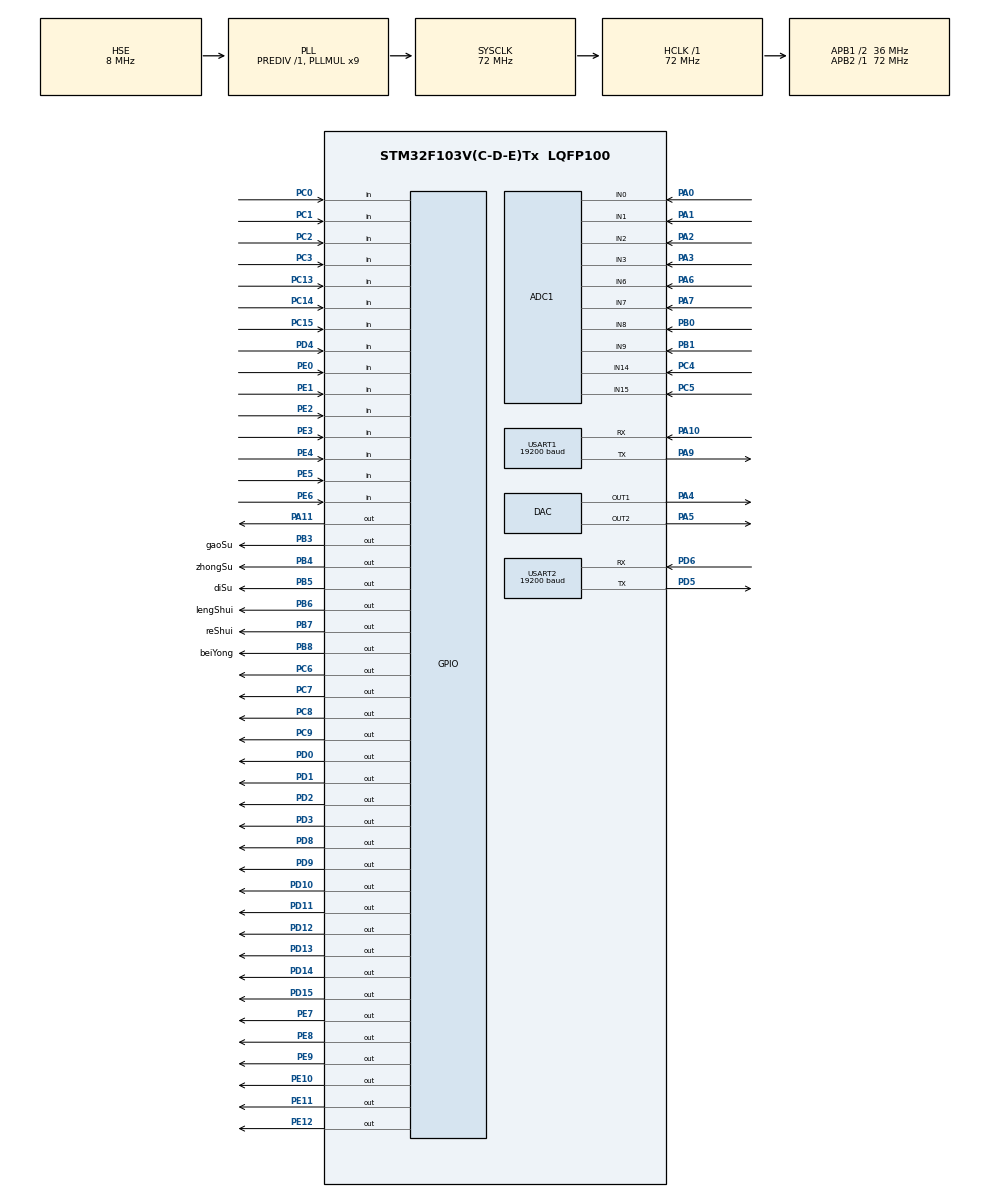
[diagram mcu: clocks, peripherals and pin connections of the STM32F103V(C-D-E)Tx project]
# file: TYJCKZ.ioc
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ADC1.Channel-0\#ChannelRegularConversion=ADC_CHANNEL_0
ADC1.Channel-1\#ChannelRegularConversion=ADC_CHANNEL_1
ADC1.Channel-10\#ChannelRegularConversion=ADC_CHANNEL_15
ADC1.Channel-2\#ChannelRegularConversion=ADC_CHANNEL_2
ADC1.Channel-3\#ChannelRegularConversion=ADC_CHANNEL_3
ADC1.Channel-4\#ChannelRegularConversion=ADC_CHANNEL_6
ADC1.Channel-5\#ChannelRegularConversion=ADC_CHANNEL_7
ADC1.Channel-7\#ChannelRegularConversion=ADC_CHANNEL_8
ADC1.Channel-8\#ChannelRegularConversion=ADC_CHANNEL_9
ADC1.Channel-9\#ChannelRegularConversion=ADC_CHANNEL_14
ADC1.ContinuousConvMode=ENABLE
ADC1.NbrOfConversion=10
ADC1.NbrOfConversionFlag=1
ADC1.Rank-0\#ChannelRegularConversion=1
ADC1.Rank-1\#ChannelRegularConversion=2
ADC1.Rank-10\#ChannelRegularConversion=10
ADC1.Rank-2\#ChannelRegularConversion=3
ADC1.Rank-3\#ChannelRegularConversion=4
ADC1.Rank-4\#ChannelRegularConversion=5
ADC1.Rank-5\#ChannelRegularConversion=6
ADC1.Rank-7\#ChannelRegularConversion=7
ADC1.Rank-8\#ChannelRegularConversion=8
ADC1.Rank-9\#ChannelRegularConversion=9
ADC1.SamplingTime-0\#ChannelRegularConversion=ADC_SAMPLETIME_55CYCLES_5
ADC1.SamplingTime-1\#ChannelRegularConversion=ADC_SAMPLETIME_55CYCLES_5
ADC1.SamplingTime-10\#ChannelRegularConversion=ADC_SAMPLETIME_55CYCLES_5
ADC1.SamplingTime-2\#ChannelRegularConversion=ADC_SAMPLETIME_55CYCLES_5
ADC1.SamplingTime-3\#ChannelRegularConversion=ADC_SAMPLETIME_55CYCLES_5
ADC1.SamplingTime-4\#ChannelRegularConversion=ADC_SAMPLETIME_55CYCLES_5
ADC1.SamplingTime-5\#ChannelRegularConversion=ADC_SAMPLETIME_55CYCLES_5
ADC1.SamplingTime-7\#ChannelRegularConversion=ADC_SAMPLETIME_55CYCLES_5
ADC1.SamplingTime-8\#ChannelRegularConversion=ADC_SAMPLETIME_55CYCLES_5
ADC1.SamplingTime-9\#ChannelRegularConversion=ADC_SAMPLETIME_55CYCLES_5
ADC1.master=1
DAC.DAC_OutputBuffer=DAC_OUTPUTBUFFER_DISABLE
DAC.DAC_OutputBuffer2=DAC_OUTPUTBUFFER_DISABLE
Dma.ADC1.4.Direction=DMA_PERIPH_TO_MEMORY
Dma.ADC1.4.Instance=DMA1_Channel1
Dma.ADC1.4.MemDataAlignment=DMA_MDATAALIGN_HALFWORD
Dma.ADC1.4.MemInc=DMA_MINC_ENABLE
Dma.ADC1.4.Mode=DMA_CIRCULAR
Dma.ADC1.4.PeriphDataAlignment=DMA_PDATAALIGN_HALFWORD
Dma.ADC1.4.PeriphInc=DMA_PINC_DISABLE
Dma.ADC1.4.Priority=DMA_PRIORITY_LOW
Dma.Request0=USART1_RX
Dma.Request1=USART1_TX
Dma.Request2=USART2_RX
Dma.Request3=USART2_TX
Dma.Request4=ADC1
Dma.USART1_RX.0.Direction=DMA_PERIPH_TO_MEMORY
Dma.USART1_RX.0.Instance=DMA1_Channel5
Dma.USART1_RX.0.MemDataAlignment=DMA_MDATAALIGN_BYTE
Dma.USART1_RX.0.MemInc=DMA_MINC_ENABLE
Dma.USART1_RX.0.Mode=DMA_NORMAL
Dma.USART1_RX.0.PeriphDataAlignment=DMA_PDATAALIGN_BYTE
Dma.USART1_RX.0.PeriphInc=DMA_PINC_DISABLE
Dma.USART1_RX.0.Priority=DMA_PRIORITY_MEDIUM
Dma.USART1_TX.1.Direction=DMA_MEMORY_TO_PERIPH
Dma.USART1_TX.1.Instance=DMA1_Channel4
Dma.USART1_TX.1.MemDataAlignment=DMA_MDATAALIGN_BYTE
Dma.USART1_TX.1.MemInc=DMA_MINC_ENABLE
Dma.USART1_TX.1.Mode=DMA_NORMAL
Dma.USART1_TX.1.PeriphDataAlignment=DMA_PDATAALIGN_BYTE
Dma.USART1_TX.1.PeriphInc=DMA_PINC_DISABLE
Dma.USART1_TX.1.Priority=DMA_PRIORITY_MEDIUM
Dma.USART2_RX.2.Direction=DMA_PERIPH_TO_MEMORY
Dma.USART2_RX.2.Instance=DMA1_Channel6
Dma.USART2_RX.2.MemDataAlignment=DMA_MDATAALIGN_BYTE
Dma.USART2_RX.2.MemInc=DMA_MINC_ENABLE
Dma.USART2_RX.2.Mode=DMA_NORMAL
Dma.USART2_RX.2.PeriphDataAlignment=DMA_PDATAALIGN_BYTE
Dma.USART2_RX.2.PeriphInc=DMA_PINC_DISABLE
Dma.USART2_RX.2.Priority=DMA_PRIORITY_MEDIUM
Dma.USART2_TX.3.Direction=DMA_MEMORY_TO_PERIPH
Dma.USART2_TX.3.Instance=DMA1_Channel7
Dma.USART2_TX.3.MemDataAlignment=DMA_MDATAALIGN_BYTE
Dma.USART2_TX.3.MemInc=DMA_MINC_ENABLE
Dma.USART2_TX.3.Mode=DMA_NORMAL
Dma.USART2_TX.3.PeriphDataAlignment=DMA_PDATAALIGN_BYTE
Dma.USART2_TX.3.PeriphInc=DMA_PINC_DISABLE
Dma.USART2_TX.3.Priority=DMA_PRIORITY_MEDIUM
FREERTOS.HEAP_NUMBER=5
FREERTOS.Tasks01=TaskModbusRec,0,128,FuncModbusRec,Default,NULL,Dynamic,NULL,NULL;TaskDataProc,0,128,FuncDataProc,Default,NULL,Dynamic,NULL,NULL;TaskModbusSend,0,128,FuncModbusSend,Default,NULL,Dynamic,NULL,NULL;TaskTelDial,0,128,FuncTelDial,Default,NULL,Dynamic,NULL,NULL;TaskGasRxTx,0,128,FuncGasRxTx,Default,NULL,Dynamic,NULL,NULL
FREERTOS.configTOTAL_HEAP_SIZE=4096
Mcu.Family=STM32F1
Mcu.Name=STM32F103V(C-D-E)Tx
Mcu.Package=LQFP100
NVIC.DMA1_Channel1_IRQn=true\:5\:0\:false\:false\:true\:true\:true\:true
NVIC.DMA1_Channel4_IRQn=true\:5\:0\:false\:false\:true\:true\:true\:true
NVIC.DMA1_Channel5_IRQn=true\:5\:0\:false\:false\:true\:true\:true\:true
NVIC.DMA1_Channel6_IRQn=true\:5\:0\:false\:false\:true\:true\:true\:true
NVIC.DMA1_Channel7_IRQn=true\:5\:0\:false\:false\:true\:true\:true\:true
NVIC.PriorityGroup=NVIC_PRIORITYGROUP_4
NVIC.TIM4_IRQn=true\:0\:0\:false\:false\:true\:false\:true\:true
NVIC.TimeBase=TIM4_IRQn
NVIC.TimeBaseIP=TIM4
NVIC.USART1_IRQn=true\:5\:0\:false\:false\:true\:true\:true\:true
NVIC.USART2_IRQn=true\:5\:0\:false\:false\:true\:true\:true\:true
OSC_IN.Mode=HSE-External-Oscillator
OSC_IN.Signal=RCC_OSC_IN
OSC_OUT.Mode=HSE-External-Oscillator
OSC_OUT.Signal=RCC_OSC_OUT
PA0-WKUP.Signal=ADCx_IN0
PA1.Signal=ADCx_IN1
PA10.Mode=Asynchronous
PA10.Signal=USART1_RX
PA11.Signal=GPIO_Output
PA13.Mode=Serial_Wire
PA13.Signal=SYS_JTMS-SWDIO
PA14.Mode=Serial_Wire
PA14.Signal=SYS_JTCK-SWCLK
PA2.Signal=ADCx_IN2
PA3.Signal=ADCx_IN3
PA4.Signal=COMP_DAC1_group
PA5.Signal=COMP_DAC2_group
PA6.Signal=ADCx_IN6
PA7.Signal=ADCx_IN7
PA9.Mode=Asynchronous
PA9.Signal=USART1_TX
PB0.Signal=ADCx_IN8
PB1.Signal=ADCx_IN9
PB3.GPIO_Label=gaoSu
PB3.Signal=GPIO_Output
PB4.GPIO_Label=zhongSu
PB4.Signal=GPIO_Output
PB5.GPIO_Label=diSu
PB5.Signal=GPIO_Output
PB6.GPIO_Label=lengShui
PB6.Signal=GPIO_Output
PB7.GPIO_Label=reShui
PB7.Signal=GPIO_Output
PB8.GPIO_Label=beiYong
PB8.Signal=GPIO_Output
PC0.GPIO_PuPd=GPIO_PULLUP
PC0.Signal=GPIO_Input
PC1.GPIO_PuPd=GPIO_PULLUP
PC1.Signal=GPIO_Input
PC13-TAMPER-RTC.GPIO_PuPd=GPIO_PULLUP
PC13-TAMPER-RTC.Signal=GPIO_Input
PC14-OSC32_IN.GPIO_PuPd=GPIO_PULLUP
PC14-OSC32_IN.Signal=GPIO_Input
PC15-OSC32_OUT.GPIO_PuPd=GPIO_PULLUP
PC15-OSC32_OUT.Signal=GPIO_Input
PC2.GPIO_PuPd=GPIO_PULLUP
PC2.Signal=GPIO_Input
PC3.GPIO_PuPd=GPIO_PULLUP
PC3.Signal=GPIO_Input
PC4.Signal=ADCx_IN14
PC5.Signal=ADCx_IN15
PC6.Signal=GPIO_Output
PC7.Signal=GPIO_Output
PC8.Signal=GPIO_Output
PC9.Signal=GPIO_Output
PD0.Signal=GPIO_Output
PD1.Signal=GPIO_Output
PD10.Signal=GPIO_Output
PD11.Signal=GPIO_Output
PD12.Signal=GPIO_Output
PD13.Signal=GPIO_Output
PD14.Signal=GPIO_Output
PD15.Signal=GPIO_Output
PD2.Signal=GPIO_Output
PD3.Signal=GPIO_Output
PD4.GPIO_PuPd=GPIO_PULLUP
PD4.Signal=GPIO_Input
PD5.Mode=Asynchronous
PD5.Signal=USART2_TX
PD6.Mode=Asynchronous
PD6.Signal=USART2_RX
PD8.Signal=GPIO_Output
PD9.Signal=GPIO_Output
PE0.GPIO_PuPd=GPIO_PULLUP
PE0.Signal=GPIO_Input
PE1.GPIO_PuPd=GPIO_PULLUP
PE1.Signal=GPIO_Input
PE10.Signal=GPIO_Output
PE11.Signal=GPIO_Output
PE12.Signal=GPIO_Output
PE2.GPIO_PuPd=GPIO_PULLUP
PE2.Signal=GPIO_Input
PE3.GPIO_PuPd=GPIO_PULLUP
PE3.Signal=GPIO_Input
PE4.GPIO_PuPd=GPIO_PULLUP
PE4.Signal=GPIO_Input
PE5.GPIO_PuPd=GPIO_PULLUP
PE5.Signal=GPIO_Input
PE6.GPIO_PuPd=GPIO_PULLUP
PE6.Signal=GPIO_Input
PE7.Signal=GPIO_Output
PE8.Signal=GPIO_Output
PE9.Signal=GPIO_Output
ProjectManager.HeapSize=0x200
ProjectManager.StackSize=0x400
ProjectManager.TargetToolchain=TrueSTUDIO
RCC.ADCPresc=RCC_ADCPCLK2_DIV6
RCC.AHBFreq_Value=72000000
RCC.APB1CLKDivider=RCC_HCLK_DIV2
RCC.APB1Freq_Value=36000000
RCC.APB1TimFreq_Value=72000000
RCC.APB2Freq_Value=72000000
RCC.APB2TimFreq_Value=72000000
RCC.HCLKFreq_Value=72000000
RCC.PLLMUL=RCC_PLL_MUL9
RCC.PLLSourceVirtual=RCC_PLLSOURCE_HSE
RCC.SYSCLKFreq_VALUE=72000000
RCC.SYSCLKSource=RCC_SYSCLKSOURCE_PLLCLK
RCC.USBFreq_Value=72000000
SH.ADCx_IN0.0=ADC1_IN0,IN0
SH.ADCx_IN1.0=ADC1_IN1,IN1
SH.ADCx_IN14.0=ADC1_IN14,IN14
SH.ADCx_IN15.0=ADC1_IN15,IN15
SH.ADCx_IN2.0=ADC1_IN2,IN2
SH.ADCx_IN3.0=ADC1_IN3,IN3
SH.ADCx_IN6.0=ADC1_IN6,IN6
SH.ADCx_IN7.0=ADC1_IN7,IN7
SH.ADCx_IN8.0=ADC1_IN8,IN8
SH.ADCx_IN9.0=ADC1_IN9,IN9
SH.COMP_DAC1_group.0=DAC_OUT1,DAC_OUT1
SH.COMP_DAC2_group.0=DAC_OUT2,DAC_OUT2
USART1.BaudRate=19200
USART1.VirtualMode=VM_ASYNC
USART2.BaudRate=19200
USART2.VirtualMode=VM_ASYNC
VP_FREERTOS_VS_CMSIS_V1.Mode=CMSIS_V1
VP_IWDG_VS_IWDG.Mode=IWDG_Activate
VP_SYS_VS_tim4.Mode=TIM4
board=TYJCKZ

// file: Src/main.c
/**
  ******************************************************************************
  * @file           : main.c
  * @brief          : Main program body
  ******************************************************************************
  * This notice applies to any and all portions of this file
  * that are not between comment pairs USER CODE BEGIN and
  * USER CODE END. Other portions of this file, whether
  * inserted by the user or by software development tools
  * are owned by their respective copyright owners.
  *
  * Copyright (c) 2018 STMicroelectronics International N.V.
  * All rights reserved.
  *
  * Redistribution and use in source and binary forms, with or without
  * modification, are permitted, provided that the following conditions are met:
  *
  * 1. Redistribution of source code must retain the above copyright notice,
  *    this list of conditions and the following disclaimer.
  * 2. Redistributions in binary form must reproduce the above copyright notice,
  *    this list of conditions and the following disclaimer in the documentation
  *    and/or other materials provided with the distribution.
  * 3. Neither the name of STMicroelectronics nor the names of other
  *    contributors to this software may be used to endorse or promote products
  *    derived from this software without specific written permission.
  * 4. This software, including modifications and/or derivative works of this
  *    software, must execute solely and exclusively on microcontroller or
  *    microprocessor devices manufactured by or for STMicroelectronics.
  * 5. Redistribution and use of this software other than as permitted under
  *    this license is void and will automatically terminate your rights under
  *    this license.
  *
  * THIS SOFTWARE IS PROVIDED BY STMICROELECTRONICS AND CONTRIBUTORS "AS IS"
  * AND ANY EXPRESS, IMPLIED OR STATUTORY WARRANTIES, INCLUDING, BUT NOT
  * LIMITED TO, THE IMPLIED WARRANTIES OF MERCHANTABILITY, FITNESS FOR A
  * PARTICULAR PURPOSE AND NON-INFRINGEMENT OF THIRD PARTY INTELLECTUAL PROPERTY
  * RIGHTS ARE DISCLAIMED TO THE FULLEST EXTENT PERMITTED BY LAW. IN NO EVENT
  * SHALL STMICROELECTRONICS OR CONTRIBUTORS BE LIABLE FOR ANY DIRECT, INDIRECT,
  * INCIDENTAL, SPECIAL, EXEMPLARY, OR CONSEQUENTIAL DAMAGES (INCLUDING, BUT NOT
  * LIMITED TO, PROCUREMENT OF SUBSTITUTE GOODS OR SERVICES; LOSS OF USE, DATA,
  * OR PROFITS; OR BUSINESS INTERRUPTION) HOWEVER CAUSED AND ON ANY THEORY OF
  * LIABILITY, WHETHER IN CONTRACT, STRICT LIABILITY, OR TORT (INCLUDING
  * NEGLIGENCE OR OTHERWISE) ARISING IN ANY WAY OUT OF THE USE OF THIS SOFTWARE,
  * EVEN IF ADVISED OF THE POSSIBILITY OF SUCH DAMAGE.
  *
  ******************************************************************************
  */
#include "main.h"
#include "stm32f1xx_hal.h"
#include "cmsis_os.h"
#include "adc.h"
#include "dac.h"
#include "dma.h"
#include "iwdg.h"
#include "usart.h"
#include "gpio.h"

/* USER CODE BEGIN PV */
/* Private variables ---------------------------------------------------------*/

/* USER CODE END PV */

void SystemClock_Config(void);
void MX_FREERTOS_Init(void);

/* USER CODE BEGIN PFP */
/* Private function prototypes -----------------------------------------------*/

/* USER CODE END PFP */

int main(void)
{

  /* MCU Configuration----------------------------------------------------------*/

  /* Reset of all peripherals, Initializes the Flash interface and the Systick. */
  HAL_Init();

  /* USER CODE BEGIN Init */

  uint16_t sendMasterCount;

  /* USER CODE END Init */

  /* Configure the system clock */
  SystemClock_Config();

  /* Initialize all configured peripherals */
  MX_GPIO_Init();
  MX_DMA_Init();
  MX_ADC1_Init();
  MX_USART1_UART_Init();
  MX_USART2_UART_Init();
  MX_IWDG_Init();
  MX_DAC_Init();
  /* USER CODE BEGIN 2 */

  __HAL_UART_ENABLE_IT(&huart1, UART_IT_IDLE);    //使能空闲中断
  __HAL_UART_ENABLE_IT(&huart2, UART_IT_IDLE);

  HAL_ADCEx_Calibration_Start(&hadc1);
  HAL_ADC_Start_DMA(&hadc1, (uint32_t *)ADC_ConvertedValue, 10);
  HAL_DAC_Start(&hdac, DAC_CHANNEL_1);
  HAL_DAC_Start(&hdac, DAC_CHANNEL_2);
  /* USER CODE END 2 */

  /* Call init function for freertos objects (in freertos.c) */
  MX_FREERTOS_Init();

  /* Start scheduler */
  osKernelStart();

  /* We should never get here as control is now taken by the scheduler */

  /* Infinite loop */
  while (1)
  {

  }

}

void SystemClock_Config(void)
{

  RCC_OscInitTypeDef RCC_OscInitStruct;
  RCC_ClkInitTypeDef RCC_ClkInitStruct;
  RCC_PeriphCLKInitTypeDef PeriphClkInit;

    /**Initializes the CPU, AHB and APB busses clocks
    */
  RCC_OscInitStruct.OscillatorType = RCC_OSCILLATORTYPE_LSI|RCC_OSCILLATORTYPE_HSE;
  RCC_OscInitStruct.HSEState = RCC_HSE_ON;
  RCC_OscInitStruct.HSEPredivValue = RCC_HSE_PREDIV_DIV1;
  RCC_OscInitStruct.HSIState = RCC_HSI_ON;
  RCC_OscInitStruct.LSIState = RCC_LSI_ON;
  RCC_OscInitStruct.PLL.PLLState = RCC_PLL_ON;
  RCC_OscInitStruct.PLL.PLLSource = RCC_PLLSOURCE_HSE;
  RCC_OscInitStruct.PLL.PLLMUL = RCC_PLL_MUL9;
  if (HAL_RCC_OscConfig(&RCC_OscInitStruct) != HAL_OK)
  {
    _Error_Handler(__FILE__, __LINE__);
  }

    /**Initializes the CPU, AHB and APB busses clocks
    */
  RCC_ClkInitStruct.ClockType = RCC_CLOCKTYPE_HCLK|RCC_CLOCKTYPE_SYSCLK
                              |RCC_CLOCKTYPE_PCLK1|RCC_CLOCKTYPE_PCLK2;
  RCC_ClkInitStruct.SYSCLKSource = RCC_SYSCLKSOURCE_PLLCLK;
  RCC_ClkInitStruct.AHBCLKDivider = RCC_SYSCLK_DIV1;
  RCC_ClkInitStruct.APB1CLKDivider = RCC_HCLK_DIV2;
  RCC_ClkInitStruct.APB2CLKDivider = RCC_HCLK_DIV1;

  if (HAL_RCC_ClockConfig(&RCC_ClkInitStruct, FLASH_LATENCY_2) != HAL_OK)
  {
    _Error_Handler(__FILE__, __LINE__);
  }

  PeriphClkInit.PeriphClockSelection = RCC_PERIPHCLK_ADC;
  PeriphClkInit.AdcClockSelection = RCC_ADCPCLK2_DIV6;
  if (HAL_RCCEx_PeriphCLKConfig(&PeriphClkInit) != HAL_OK)
  {
    _Error_Handler(__FILE__, __LINE__);
  }

    /**Configure the Systick interrupt time
    */
  HAL_SYSTICK_Config(HAL_RCC_GetHCLKFreq()/1000);

    /**Configure the Systick
    */
  HAL_SYSTICK_CLKSourceConfig(SYSTICK_CLKSOURCE_HCLK);

  /* SysTick_IRQn interrupt configuration */
  HAL_NVIC_SetPriority(SysTick_IRQn, 15, 0);
}

void HAL_TIM_PeriodElapsedCallback(TIM_HandleTypeDef *htim)
{
  if (htim->Instance == TIM4) {
    HAL_IncTick();
  }
}

void _Error_Handler(char *file, int line)
{
  while(1)
  {
  }
}

/************************ (C) COPYRIGHT STMicroelectronics *****END OF FILE****/

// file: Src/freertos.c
/**
  ******************************************************************************
  * File Name          : freertos.c
  * Description        : Code for freertos applications
  ******************************************************************************
  * This notice applies to any and all portions of this file
  * that are not between comment pairs USER CODE BEGIN and
  * USER CODE END. Other portions of this file, whether
  * inserted by the user or by software development tools
  * are owned by their respective copyright owners.
  *
  * Copyright (c) 2018 STMicroelectronics International N.V.
  * All rights reserved.
  *
  * Redistribution and use in source and binary forms, with or without
  * modification, are permitted, provided that the following conditions are met:
  *
  * 1. Redistribution of source code must retain the above copyright notice,
  *    this list of conditions and the following disclaimer.
  * 2. Redistributions in binary form must reproduce the above copyright notice,
  *    this list of conditions and the following disclaimer in the documentation
  *    and/or other materials provided with the distribution.
  * 3. Neither the name of STMicroelectronics nor the names of other
  *    contributors to this software may be used to endorse or promote products
  *    derived from this software without specific written permission.
  * 4. This software, including modifications and/or derivative works of this
  *    software, must execute solely and exclusively on microcontroller or
  *    microprocessor devices manufactured by or for STMicroelectronics.
  * 5. Redistribution and use of this software other than as permitted under
  *    this license is void and will automatically terminate your rights under
  *    this license.
  *
  * THIS SOFTWARE IS PROVIDED BY STMICROELECTRONICS AND CONTRIBUTORS "AS IS"
  * AND ANY EXPRESS, IMPLIED OR STATUTORY WARRANTIES, INCLUDING, BUT NOT
  * LIMITED TO, THE IMPLIED WARRANTIES OF MERCHANTABILITY, FITNESS FOR A
  * PARTICULAR PURPOSE AND NON-INFRINGEMENT OF THIRD PARTY INTELLECTUAL PROPERTY
  * RIGHTS ARE DISCLAIMED TO THE FULLEST EXTENT PERMITTED BY LAW. IN NO EVENT
  * SHALL STMICROELECTRONICS OR CONTRIBUTORS BE LIABLE FOR ANY DIRECT, INDIRECT,
  * INCIDENTAL, SPECIAL, EXEMPLARY, OR CONSEQUENTIAL DAMAGES (INCLUDING, BUT NOT
  * LIMITED TO, PROCUREMENT OF SUBSTITUTE GOODS OR SERVICES; LOSS OF USE, DATA,
  * OR PROFITS; OR BUSINESS INTERRUPTION) HOWEVER CAUSED AND ON ANY THEORY OF
  * LIABILITY, WHETHER IN CONTRACT, STRICT LIABILITY, OR TORT (INCLUDING
  * NEGLIGENCE OR OTHERWISE) ARISING IN ANY WAY OUT OF THE USE OF THIS SOFTWARE,
  * EVEN IF ADVISED OF THE POSSIBILITY OF SUCH DAMAGE.
  *
  ******************************************************************************
  */

#include "FreeRTOS.h"
#include "task.h"
#include "cmsis_os.h"

/* USER CODE BEGIN Includes */
#include "stm32f1xx_hal.h"
#include "modbusToAndroid.h"
#include "dataProcessing.h"
#include "telDial.h"
#include "gasAlermRxTx.h"
#include "iwdg.h"
/* USER CODE END Includes */

osThreadId TaskModbusRecHandle;
osThreadId TaskDataProcHandle;
osThreadId TaskModbusSendHandle;
osThreadId TaskTelDialHandle;
osThreadId TaskGasRxTxHandle;

void FuncModbusRec(void const * argument);
void FuncDataProc(void const * argument);
void FuncModbusSend(void const * argument);
void FuncTelDial(void const * argument);
void FuncGasRxTx(void const * argument);

void MX_FREERTOS_Init(void); /* (MISRA C 2004 rule 8.1) */

/* Hook prototypes */

/* Init FreeRTOS */

void MX_FREERTOS_Init(void) {

  /* Create the thread(s) */
  /* definition and creation of TaskModbusRec */
  osThreadDef(TaskModbusRec, FuncModbusRec, osPriorityNormal, 0, 128);
  TaskModbusRecHandle = osThreadCreate(osThread(TaskModbusRec), NULL);

  /* definition and creation of TaskDataProc */
  osThreadDef(TaskDataProc, FuncDataProc, osPriorityNormal, 0, 128);
  TaskDataProcHandle = osThreadCreate(osThread(TaskDataProc), NULL);

  /* definition and creation of TaskModbusSend */
  osThreadDef(TaskModbusSend, FuncModbusSend, osPriorityNormal, 0, 128);
  TaskModbusSendHandle = osThreadCreate(osThread(TaskModbusSend), NULL);

  /* definition and creation of TaskTelDial */
  osThreadDef(TaskTelDial, FuncTelDial, osPriorityNormal, 0, 128);
  TaskTelDialHandle = osThreadCreate(osThread(TaskTelDial), NULL);

  /* definition and creation of TaskGasRxTx */
  osThreadDef(TaskGasRxTx, FuncGasRxTx, osPriorityNormal, 0, 128);
  TaskGasRxTxHandle = osThreadCreate(osThread(TaskGasRxTx), NULL);

}

/* FuncModbusRec function */
void FuncModbusRec(void const * argument)
{

  /* USER CODE BEGIN FuncModbusRec */
  /* Infinite loop */
  for(;;)
  {
	  Usart1RxMonitor();
	  osDelay(1);
  }
  /* USER CODE END FuncModbusRec */
}

/* FuncDataProc function */
void FuncDataProc(void const * argument)
{
  /* USER CODE BEGIN FuncDataProc */
  /* Infinite loop */
  for(;;)
  {
	  dataProcessing();
	  telDial();
	  osDelay(1);
  }
  /* USER CODE END FuncDataProc */
}

/* FuncModbusSend function */
void FuncModbusSend(void const * argument)
{
  /* USER CODE BEGIN FuncModbusSend */
  /* Infinite loop */
  for(;;)
  {
	  sendDataMaster03(0,3);
	  osDelay(100);
	  sendDataMaster03(20, 2);
	  osDelay(100);
	  sendDataMaster16();
	  osDelay(100);
	  HAL_GPIO_TogglePin(GPIOA, GPIO_PIN_11);
  }
  /* USER CODE END FuncModbusSend */
}

/* FuncTelDial function */
void FuncTelDial(void const * argument)
{
  /* USER CODE BEGIN FuncTelDial */
  /* Infinite loop */
  for(;;)
  {
	  osDelay(100);
	  HAL_IWDG_Refresh(&hiwdg);
  }
  /* USER CODE END FuncTelDial */
}

/* FuncGasRxTx function */
void FuncGasRxTx(void const * argument)
{
  /* USER CODE BEGIN FuncGasRxTx */
  /* Infinite loop */
  for(;;)
  {
	 gasAlermRxTx();
	 osDelay(1);

  }
  /* USER CODE END FuncGasRxTx */
}

/************************ (C) COPYRIGHT STMicroelectronics *****END OF FILE****/
